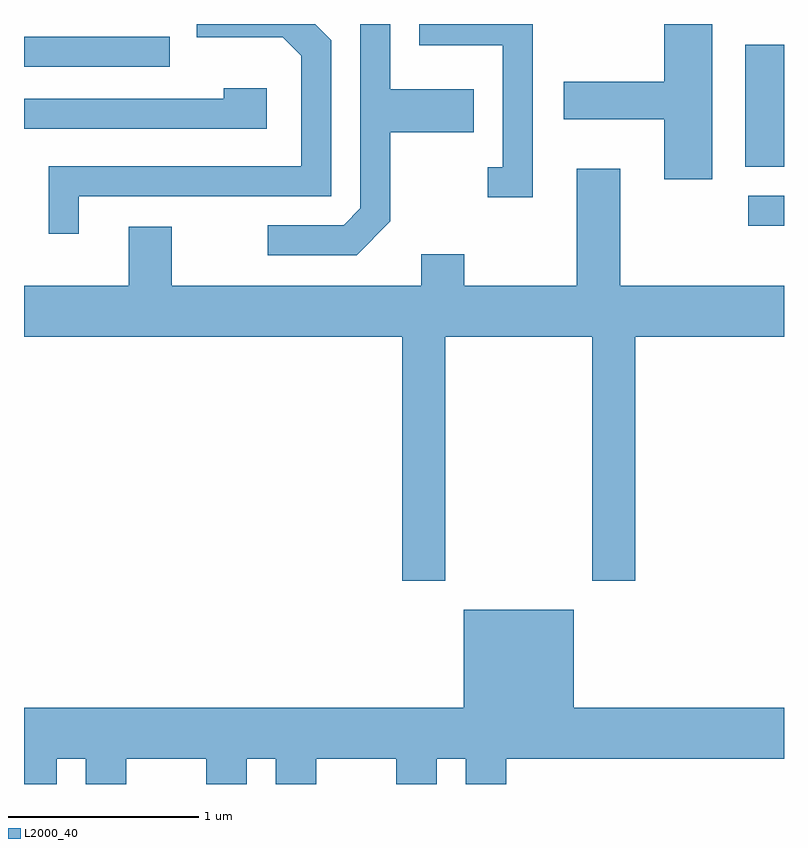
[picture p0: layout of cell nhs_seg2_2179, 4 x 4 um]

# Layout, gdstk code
import gdstk
lib = gdstk.Library(unit=1e-6, precision=1e-09)
def R(c, l, rs):  # rectangles x0, y0, x1, y1
    for r in rs: c.add(gdstk.rectangle(r[:2], r[2:], *l))
def P(c, l, *ps):  # polygons
    for p in ps: c.add(gdstk.Polygon(p, *l))
L2000_40 = (2000, 40)

nhs_seg2_2179 = lib.new_cell('nhs_seg2_2179')
R(nhs_seg2_2179, L2000_40, [(253.423,986.741,253.611,986.899), (253.406,987.051,253.611,987.694), (249.611,987.576,250.378,987.734)])
P(nhs_seg2_2179, L2000_40, [(251.539,986.764),(251.539,987.231),(251.979,987.231),(251.979,987.459),(251.539,987.459),(251.539,987.802),(251.381,987.802),(251.381,986.832),(251.294,986.744),(250.893,986.744),(250.893,986.586),(251.362,986.586)],
  [(252.289,987.802),(251.691,987.802),(251.691,987.691),(252.131,987.691),(252.131,987.049),(252.053,987.049),(252.053,986.891),(252.289,986.891)],
  [(249.899,986.896),(251.229,986.896),(251.229,987.717),(251.144,987.802),(250.521,987.802),(250.521,987.731),(250.974,987.731),(251.071,987.634),(251.071,987.054),(249.741,987.054),(249.741,986.698),(249.899,986.698)],
  [(253.234,987.802),(252.981,987.802),(252.981,987.499),(252.451,987.499),(252.451,987.301),(252.981,987.301),(252.981,986.986),(253.234,986.986)],
  [(250.889,987.464),(250.661,987.464),(250.661,987.409),(249.611,987.409),(249.611,987.251),(250.889,987.251)],
  [(251.829,986.156),(252.601,986.156),(252.601,984.871),(252.829,984.871),(252.829,986.156),(253.611,986.156),(253.611,986.424),(252.749,986.424),(252.749,987.039),(252.521,987.039),(252.521,986.424),(251.929,986.424),(251.929,986.589),(251.701,986.589),(251.701,986.424),(250.389,986.424),(250.389,986.734),(250.161,986.734),(250.161,986.424),(249.611,986.424),(249.611,986.156),(251.601,986.156),(251.601,984.871),(251.829,984.871)],
  [(249.611,983.802),(249.784,983.802),(249.784,983.936),(249.936,983.936),(249.936,983.802),(250.149,983.802),(250.149,983.936),(250.571,983.936),(250.571,983.802),(250.784,983.802),(250.784,983.936),(250.936,983.936),(250.936,983.802),(251.149,983.802),(251.149,983.936),(251.571,983.936),(251.571,983.802),(251.784,983.802),(251.784,983.936),(251.936,983.936),(251.936,983.802),(252.149,983.802),(252.149,983.936),(253.611,983.936),(253.611,984.204),(252.504,984.204),(252.504,984.719),(251.926,984.719),(251.926,984.204),(249.611,984.204)])

lib.write_gds('nhs_seg2_2179.gds')
